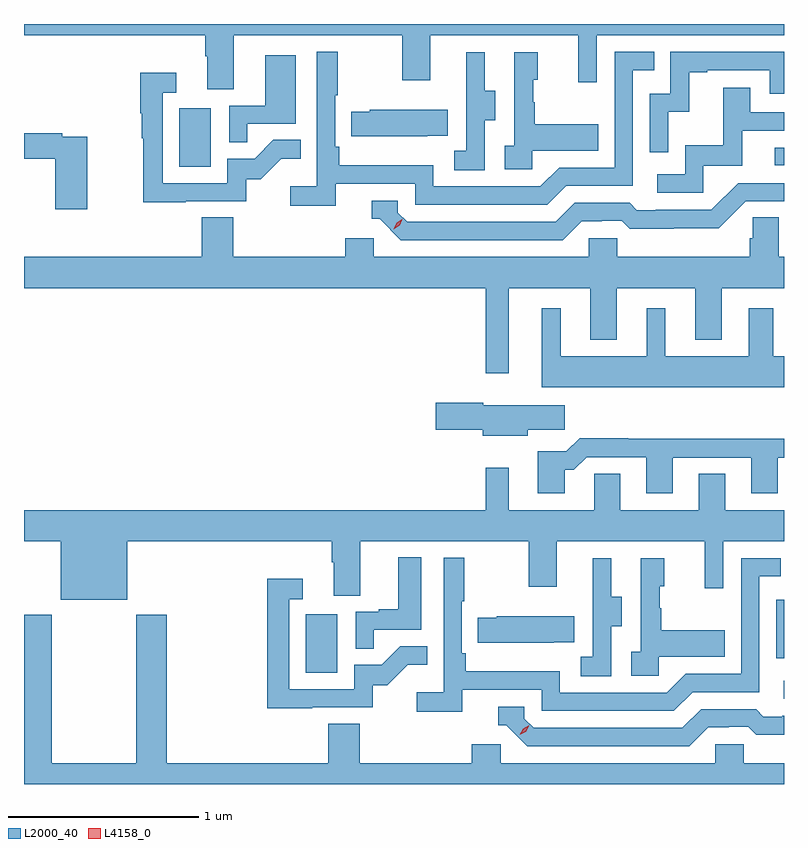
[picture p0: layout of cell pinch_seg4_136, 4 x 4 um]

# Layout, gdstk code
import gdstk
lib = gdstk.Library(unit=1e-6, precision=1e-09)
def R(c, l, rs):  # rectangles x0, y0, x1, y1
    for r in rs: c.add(gdstk.rectangle(r[:2], r[2:], *l))
def P(c, l, *ps):  # polygons
    for p in ps: c.add(gdstk.Polygon(p, *l))
L2000_40 = (2000, 40)
L4158_0 = (4158, 0)

pinch_seg4_136 = lib.new_cell('pinch_seg4_136')
R(pinch_seg4_136, L2000_40, [(1084.473,805.314,1084.474,805.41), (1081.958,805.452,1082.122,805.759), (1084.434,805.527,1084.474,805.836), (1081.292,808.116,1081.456,808.423), (1084.425,808.122,1084.474,808.215)])
P(pinch_seg4_136, L2000_40, [(1081.579,808.808),(1082.464,808.808),(1082.464,808.569),(1082.611,808.569),(1082.611,808.808),(1083.392,808.808),(1083.392,808.56),(1083.489,808.56),(1083.489,808.808),(1084.474,808.808),(1084.474,808.866),(1080.474,808.866),(1080.474,808.808),(1081.427,808.808),(1081.427,808.696),(1081.439,808.696),(1081.439,808.522),(1081.579,808.522)],
  [(1082.114,808.026),(1082.532,808.026),(1082.532,807.915),(1083.229,807.915),(1083.328,808.014),(1083.678,808.014),(1083.678,808.623),(1083.791,808.623),(1083.791,808.719),(1083.582,808.719),(1083.582,808.11),(1083.291,808.11),(1083.192,808.011),(1082.628,808.011),(1082.628,808.123),(1082.132,808.123),(1082.132,808.219),(1082.112,808.219),(1082.112,808.492),(1082.125,808.492),(1082.125,808.72),(1082.016,808.72),(1082.016,808.012),(1081.875,808.012),(1081.875,807.91),(1082.114,807.91)],
  [(1083.864,808.403),(1083.974,808.403),(1083.974,808.611),(1084.069,808.611),(1084.069,808.623),(1084.398,808.623),(1084.398,808.5),(1084.474,808.5),(1084.474,808.719),(1083.876,808.719),(1083.876,808.5),(1083.768,808.5),(1083.768,808.191),(1083.864,808.191)],
  [(1082.898,808.36),(1082.953,808.36),(1082.953,808.515),(1082.899,808.515),(1082.899,808.717),(1082.801,808.717),(1082.801,808.503),(1082.802,808.503),(1082.802,808.199),(1082.739,808.199),(1082.739,808.096),(1082.898,808.096)],
  [(1083.15,808.199),(1083.497,808.199),(1083.497,808.339),(1083.163,808.339),(1083.163,808.454),(1083.153,808.454),(1083.153,808.572),(1083.178,808.572),(1083.178,808.717),(1083.054,808.717),(1083.054,808.226),(1083.003,808.226),(1083.003,808.101),(1083.15,808.101)],
  [(1081.649,808.341),(1081.903,808.341),(1081.903,808.702),(1081.745,808.702),(1081.745,808.437),(1081.554,808.437),(1081.554,808.243),(1081.649,808.243)],
  [(1081.325,807.933),(1081.644,807.933),(1081.644,808.05),(1081.72,808.05),(1081.827,808.157),(1081.931,808.157),(1081.931,808.256),(1081.787,808.256),(1081.689,808.158),(1081.545,808.158),(1081.545,808.029),(1081.203,808.029),(1081.203,808.503),(1081.276,808.503),(1081.276,808.609),(1081.087,808.609),(1081.087,808.396),(1081.095,808.396),(1081.095,808.266),(1081.102,808.266),(1081.102,807.928),(1081.325,807.928)],
  [(1084.05,808.119),(1084.255,808.119),(1084.255,808.305),(1084.474,808.305),(1084.474,808.401),(1084.297,808.401),(1084.297,808.531),(1084.153,808.531),(1084.153,808.228),(1083.954,808.228),(1083.954,808.074),(1083.807,808.074),(1083.807,807.978),(1084.05,807.978)],
  [(1082.597,808.277),(1082.705,808.277),(1082.705,808.414),(1082.295,808.414),(1082.295,808.404),(1082.197,808.404),(1082.197,808.274),(1082.597,808.274)],
  [(1080.808,808.272),(1080.674,808.272),(1080.674,808.292),(1080.474,808.292),(1080.474,808.156),(1080.638,808.156),(1080.638,807.891),(1080.808,807.891)],
  [(1083.409,807.828),(1083.516,807.828),(1083.516,807.831),(1083.619,807.831),(1083.661,807.789),(1083.894,807.789),(1083.894,807.791),(1084.13,807.791),(1084.272,807.933),(1084.474,807.933),(1084.474,808.029),(1084.233,808.029),(1084.092,807.888),(1083.799,807.888),(1083.799,807.885),(1083.7,807.885),(1083.661,807.924),(1083.372,807.924),(1083.273,807.825),(1082.49,807.825),(1082.442,807.873),(1082.442,807.936),(1082.303,807.936),(1082.303,807.84),(1082.346,807.84),(1082.457,807.729),(1083.31,807.729)],
  [(1083.025,807.476),(1083.455,807.476),(1083.455,807.203),(1083.595,807.203),(1083.595,807.476),(1084.007,807.476),(1084.007,807.203),(1084.147,807.203),(1084.147,807.476),(1084.474,807.476),(1084.474,807.64),(1084.446,807.64),(1084.446,807.848),(1084.309,807.848),(1084.309,807.738),(1084.295,807.738),(1084.295,807.64),(1083.597,807.64),(1083.597,807.738),(1083.447,807.738),(1083.447,807.64),(1082.316,807.64),(1082.316,807.738),(1082.165,807.738),(1082.165,807.64),(1081.574,807.64),(1081.574,807.848),(1081.409,807.848),(1081.409,807.64),(1080.474,807.64),(1080.474,807.476),(1082.904,807.476),(1082.904,807.027),(1083.025,807.027)],
  [(1084.474,807.118),(1084.417,807.118),(1084.417,807.37),(1084.289,807.37),(1084.289,807.118),(1083.85,807.118),(1083.85,807.37),(1083.752,807.37),(1083.752,807.118),(1083.298,807.118),(1083.298,807.37),(1083.2,807.37),(1083.2,806.954),(1084.474,806.954)],
  [(1083.124,806.731),(1083.319,806.731),(1083.319,806.86),(1082.892,806.86),(1082.892,806.873),(1082.64,806.873),(1082.64,806.731),(1082.888,806.731),(1082.888,806.699),(1083.124,806.699)],
  [(1083.319,806.519),(1083.368,806.519),(1083.435,806.586),(1083.749,806.586),(1083.749,806.397),(1083.889,806.397),(1083.889,806.583),(1084.301,806.583),(1084.301,806.397),(1084.441,806.397),(1084.441,806.583),(1084.474,806.583),(1084.474,806.684),(1083.653,806.684),(1083.653,806.687),(1083.398,806.687),(1083.328,806.617),(1083.179,806.617),(1083.179,806.397),(1083.319,806.397)],
  [(1080.474,806.144),(1080.668,806.144),(1080.668,805.835),(1081.018,805.835),(1081.018,806.144),(1082.093,806.144),(1082.093,806.032),(1082.105,806.032),(1082.105,805.858),(1082.245,805.858),(1082.245,806.144),(1083.13,806.144),(1083.13,805.905),(1083.277,805.905),(1083.277,806.144),(1084.058,806.144),(1084.058,805.896),(1084.155,805.896),(1084.155,806.144),(1084.474,806.144),(1084.474,806.308),(1084.165,806.308),(1084.165,806.498),(1084.025,806.498),(1084.025,806.308),(1083.613,806.308),(1083.613,806.498),(1083.474,806.498),(1083.474,806.308),(1083.025,806.308),(1083.025,806.53),(1082.904,806.53),(1082.904,806.308),(1080.474,806.308)],
  [(1082.315,805.677),(1082.566,805.677),(1082.566,806.059),(1082.444,806.059),(1082.444,805.786),(1082.341,805.786),(1082.341,805.773),(1082.22,805.773),(1082.22,805.579),(1082.315,805.579)],
  [(1082.78,805.362),(1083.198,805.362),(1083.198,805.251),(1083.895,805.251),(1083.994,805.35),(1084.344,805.35),(1084.344,805.959),(1084.457,805.959),(1084.457,806.055),(1084.248,806.055),(1084.248,805.446),(1083.957,805.446),(1083.858,805.347),(1083.294,805.347),(1083.294,805.459),(1082.798,805.459),(1082.798,805.555),(1082.778,805.555),(1082.778,805.828),(1082.791,805.828),(1082.791,806.056),(1082.682,806.056),(1082.682,805.348),(1082.541,805.348),(1082.541,805.246),(1082.78,805.246)],
  [(1083.816,805.535),(1084.163,805.535),(1084.163,805.675),(1083.829,805.675),(1083.829,805.79),(1083.819,805.79),(1083.819,805.908),(1083.844,805.908),(1083.844,806.053),(1083.72,806.053),(1083.72,805.562),(1083.669,805.562),(1083.669,805.437),(1083.816,805.437)],
  [(1083.564,805.696),(1083.619,805.696),(1083.619,805.851),(1083.565,805.851),(1083.565,806.053),(1083.467,806.053),(1083.467,805.839),(1083.468,805.839),(1083.468,805.535),(1083.405,805.535),(1083.405,805.432),(1083.564,805.432)],
  [(1081.991,805.269),(1082.31,805.269),(1082.31,805.386),(1082.386,805.386),(1082.493,805.493),(1082.597,805.493),(1082.597,805.592),(1082.454,805.592),(1082.356,805.494),(1082.211,805.494),(1082.211,805.365),(1081.869,805.365),(1081.869,805.839),(1081.942,805.839),(1081.942,805.945),(1081.753,805.945),(1081.753,805.264),(1081.991,805.264)],
  [(1084.474,804.976),(1084.263,804.976),(1084.263,805.074),(1084.113,805.074),(1084.113,804.976),(1082.982,804.976),(1082.982,805.074),(1082.831,805.074),(1082.831,804.976),(1082.24,804.976),(1082.24,805.184),(1082.075,805.184),(1082.075,804.976),(1081.226,804.976),(1081.226,805.756),(1081.066,805.756),(1081.066,804.976),(1080.621,804.976),(1080.621,805.756),(1080.474,805.756),(1080.474,804.866),(1084.474,804.866)],
  [(1083.263,805.613),(1083.371,805.613),(1083.371,805.75),(1082.961,805.75),(1082.961,805.74),(1082.863,805.74),(1082.863,805.61),(1083.263,805.61)],
  [(1084.075,805.164),(1084.182,805.164),(1084.182,805.167),(1084.285,805.167),(1084.327,805.125),(1084.474,805.125),(1084.474,805.224),(1084.465,805.224),(1084.465,805.221),(1084.366,805.221),(1084.327,805.26),(1084.038,805.26),(1083.939,805.161),(1083.156,805.161),(1083.108,805.209),(1083.108,805.272),(1082.969,805.272),(1082.969,805.176),(1083.012,805.176),(1083.123,805.065),(1083.976,805.065)])
P(pinch_seg4_136, L4158_0, [(1082.42,807.786),(1082.42,807.786),(1082.435,807.819),(1082.466,807.839),(1082.466,807.839),(1082.466,807.839),(1082.451,807.806),(1082.42,807.786)],
  [(1083.084,805.124),(1083.084,805.124),(1083.101,805.156),(1083.132,805.175),(1083.132,805.175),(1083.132,805.174),(1083.116,805.142),(1083.084,805.124)])

lib.write_gds('pinch_seg4_136.gds')
